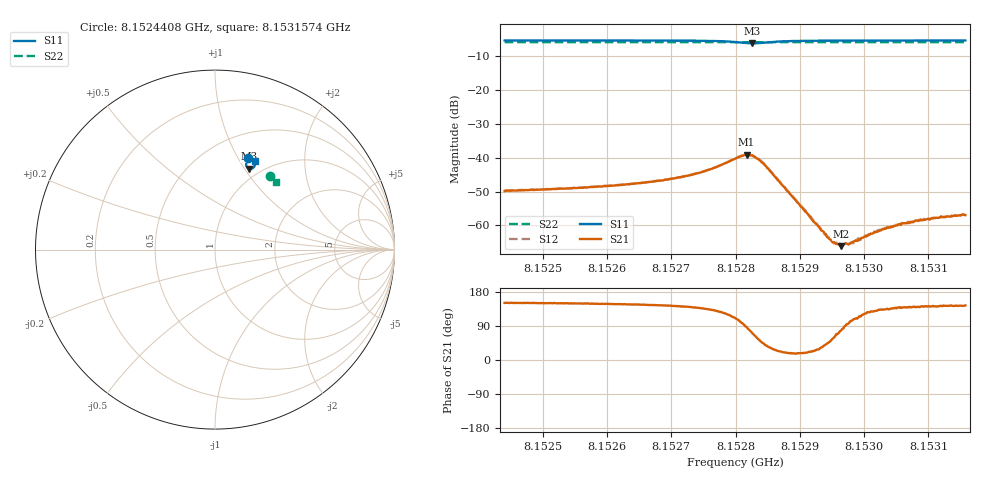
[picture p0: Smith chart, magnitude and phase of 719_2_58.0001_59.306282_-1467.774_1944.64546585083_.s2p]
#  HZ  S  RI  R  50.00
! Rohde & Schwarz Vector Network Analyzer
! Rohde-Schwarz,ZNB20-2Port,1311601062101988,3.16
! Created: UTC 3/21/2024, 1:22:36 AM
! freq[Hz]  re:S11  im:S11  re:S21  im:S21  re:S12  im:S12  re:S22  im:S22
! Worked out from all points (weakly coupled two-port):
!   401 points, 8.1524408 GHz to 8.1531574 GHz, reference 50 ohm
!   highest |S21| = -39.08 dB at 8.152817 GHz (marker M1); lowest = -66.1 dB at 8.1529639 GHz (marker M2)
!   lowest |S11| = -6.2 dB at 8.152826 GHz (marker M3), VSWR 2.91, Z = 44.1 + j52.4 ohm
!   |S11| at or under -10 dB: nowhere
!   |S22| runs from -5.9 to -5.8 dB; largest |S21 - S12| = 0.00043
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8.15244084e9  0.1855 0.5076  -0.00282 0.00158  -0.00282 0.00164  0.3079 0.4081
8.15256086e9  0.1952 0.504  -0.00309 0.00187  -0.00311 0.00192  0.314 0.4033
8.15262177e9  0.2006 0.5015  -0.00335 0.00214  -0.00334 0.00222  0.317 0.401
8.15268088e9  0.2068 0.4981  -0.00372 0.00268  -0.0037 0.00275  0.3199 0.3982
8.15274537e9  0.216 0.4901  -0.00443 0.00415  -0.00438 0.00423  0.3231 0.3954
8.15277224e9  0.2204 0.4816  -0.00464 0.00582  -0.00463 0.00589  0.3243 0.3939
8.15279911e9  0.2195 0.464  -0.00344 0.00908  -0.00344 0.00911  0.3253 0.3922
8.15281702e9  0.2028 0.4503  0.000509 0.0111  0.000578 0.0111  0.3254 0.3912
8.15282598e9  0.1886 0.4513  0.00356 0.0102  0.00358 0.0104  0.3253 0.3912
8.15283673e9  0.1765 0.4622  0.00561 0.0074  0.00575 0.00762  0.3255 0.3913
8.15284568e9  0.1733 0.4735  0.00595 0.00496  0.00603 0.00512  0.326 0.3913
8.15291913e9  0.1966 0.4983  0.00112 0.000489  0.00117 0.000479  0.3307 0.3891
8.15294242e9  0.2011 0.4985  0.000485 0.000466  0.000519 0.000442  0.3318 0.3881
8.15295137e9  0.2025 0.4983  0.000312 0.000476  0.000331 0.000442  0.3322 0.3876
8.15296391e9  0.2045 0.4981  0.000105 0.000484  0.000125 0.000501  0.3329 0.3872
8.15297466e9  0.2061 0.4979  -4.75e-05 0.000529  -3.29e-05 0.000502  0.3334 0.3866
8.15300511e9  0.2098 0.4972  -0.000423 0.000574  -0.000407 0.000593  0.335 0.3852
8.15303915e9  0.2133 0.4963  -0.00065 0.000681  -0.000659 0.000667  0.3365 0.3838
8.15305527e9  0.2147 0.4958  -0.000799 0.000685  -0.000752 0.000734  0.3373 0.3831
8.15308393e9  0.2173 0.4949  -0.000909 0.000745  -0.000933 0.000764  0.3385 0.3819
8.1531305e9  0.2212 0.4936  -0.00109 0.000824  -0.00108 0.000881  0.341 0.3799
8.15315737e9  0.2233 0.4927  -0.00115 0.000837  -0.00115 0.000861  0.3421 0.3786
